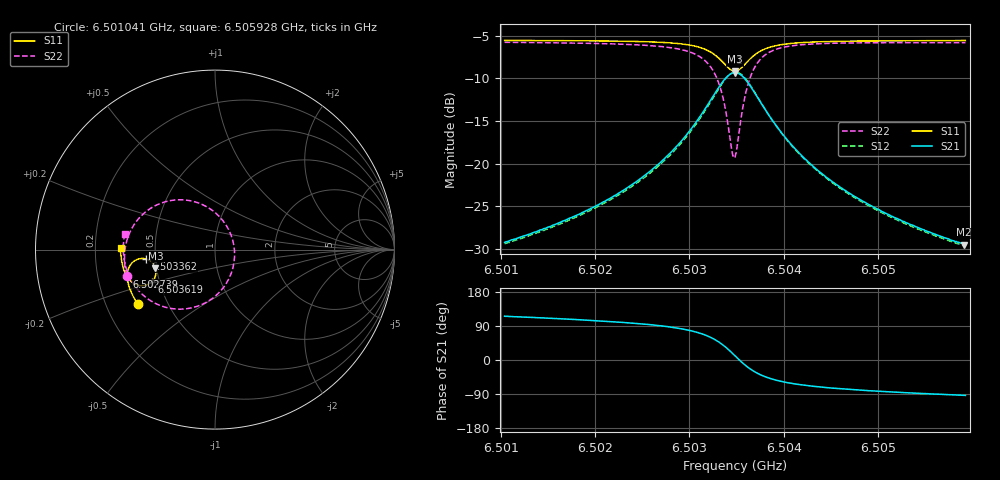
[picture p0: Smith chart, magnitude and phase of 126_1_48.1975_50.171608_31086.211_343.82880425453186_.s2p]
#  HZ  S  RI  R  50.00
! Rohde & Schwarz Vector Network Analyzer
! Rohde-Schwarz,ZNB20-2Port,1311601062101988,3.16
! Created: UTC 3/20/2024, 11:41:42 AM
! freq[Hz]  re:S11  im:S11  re:S21  im:S21  re:S12  im:S12  re:S22  im:S22
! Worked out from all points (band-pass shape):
!   401 points, 6.501041 GHz to 6.505928 GHz, reference 50 ohm
!   highest |S21| = -9.33 dB at 6.503484 GHz (marker M1); lowest = -29.5 dB at 6.505915 GHz (marker M2)
!   |S21| within 3 dB of the highest: 6.50324 GHz to 6.503728 GHz (488.5 kHz wide, 0.00751 % of centre)
!   lowest |S11| = -9.2 dB at 6.503484 GHz (marker M3), VSWR 2.07, Z = 24.6 - j5.8 ohm
!   |S11| at or under -10 dB: nowhere
!   |S22| runs from -19.4 to -5.8 dB; largest |S21 - S12| = 0.012
!   S11 on the Smith chart (normalised r, x): 6.501041 GHz: 0.34, -0.28; 6.502739 GHz: 0.33, -0.14; 6.503362 GHz: 0.44, -0.05; 6.503619 GHz: 0.45, -0.19; 6.505928 GHz: 0.31, +0.01
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6.5010412e9  -0.4304 -0.3032  -0.0149 0.0311  -0.013 0.0313  -0.4927 -0.1449
6.5018596e9  -0.465 -0.2419  -0.0141 0.0495  -0.0116 0.0489  -0.5043 -0.0562
6.5022994e9  -0.4801 -0.2023  -0.011 0.0686  -0.00794 0.0675  -0.5003 0.00775
6.5026781e9  -0.4886 -0.1597  -0.00136 0.0997  0.00225 0.0973  -0.4788 0.0858
6.5027392e9  -0.4891 -0.1514  0.00187 0.107  0.00566 0.1043  -0.4717 0.1019
6.5029591e9  -0.4855 -0.1163  0.0243 0.1427  0.0279 0.1382  -0.4251 0.1731
6.5031179e9  -0.4706 -0.084  0.0641 0.1788  0.0669 0.1729  -0.3475 0.2369
6.5032645e9  -0.4324 -0.0545  0.1466 0.2078  0.1474 0.2013  -0.1968 0.2776
6.5033622e9  -0.3856 -0.0518  0.2388 0.1906  0.239 0.1858  -0.0371 0.2334
6.5034477e9  -0.3427 -0.0812  0.3174 0.1151  0.3198 0.1106  0.0882 0.0842
6.5034843e9  -0.3317 -0.1035  0.335 0.0658  0.3385 0.0601  0.1087 -0.00834
6.5035088e9  -0.3288 -0.1199  0.3381 0.0308  0.3421 0.0239  0.1056 -0.0723
6.5035454e9  -0.3311 -0.1442  0.3306 -0.0196  0.334 -0.0287  0.0776 -0.1619
6.5036187e9  -0.3536 -0.1812  0.2833 -0.0962  0.2831 -0.1079  -0.034 -0.2851
6.5037164e9  -0.3946 -0.2008  0.2046 -0.1396  0.1995 -0.1498  -0.1945 -0.3318
6.5038753e9  -0.444 -0.1932  0.116 -0.1388  0.1087 -0.1442  -0.3556 -0.287
6.5040463e9  -0.4733 -0.172  0.0679 -0.1178  0.0613 -0.1202  -0.4339 -0.2193
6.5043028e9  -0.4958 -0.1407  0.0349 -0.0909  0.0298 -0.0915  -0.4816 -0.1409
6.5046937e9  -0.5122 -0.0993  0.0144 -0.0656  0.0113 -0.0652  -0.5053 -0.0609
6.5051213e9  -0.5208 -0.0595  0.00511 -0.0497  0.00287 -0.0489  -0.5109 0.000804
6.5059153e9  -0.526 0.00826  -0.00193 -0.0334  -0.00336 -0.0328  -0.5035 0.0868
6.5059275e9  -0.526 0.00921  -0.00199 -0.0334  -0.00339 -0.0326  -0.5033 0.088
